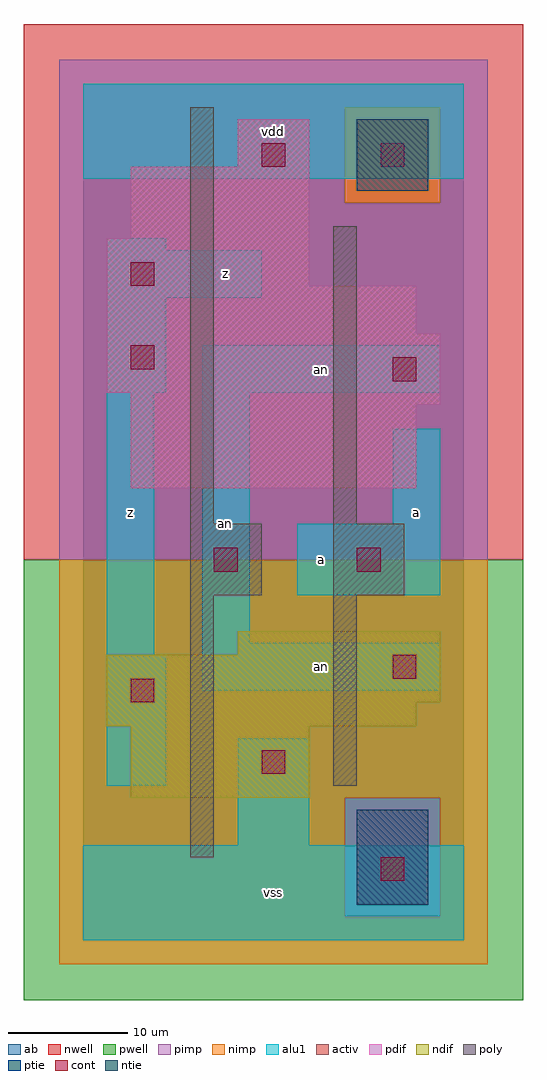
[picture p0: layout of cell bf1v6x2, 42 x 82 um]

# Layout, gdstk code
import gdstk
lib = gdstk.Library(unit=1e-6, precision=1e-09)
def R(c, l, rs):  # rectangles x0, y0, x1, y1
    for r in rs: c.add(gdstk.rectangle(r[:2], r[2:], *l))
ndif = (3, 0)
pdif = (4, 0)
ntie = (5, 0)
ptie = (6, 0)
cont = (25, 0)
pwell = (41, 0)
nwell = (42, 0)
activ = (43, 0)
pimp = (44, 0)
nimp = (45, 0)
poly = (46, 0)
alu1 = (49, 0)
ab = (63, 0)

bf1v6x2 = lib.new_cell('bf1v6x2')
R(bf1v6x2, ndif, [(4,12,19,18), (2,18,28,20), (2,20,30,24), (13,24,30,26)])
R(bf1v6x2, pdif, [(4,38,28,45), (4,45,30,46), (2,46,30,51), (2,51,28,55), (2,55,19,59), (4,59,19,65), (13,65,19,69)])
R(bf1v6x2, ntie, [(23,63,29,69)])
R(bf1v6x2, ptie, [(23,3,29,11)])
R(bf1v6x2, cont, [(25,5,27,7), (15,14,17,16), (4,20,6,22), (26,22,28,24), (11,31,13,33), (23,31,25,33), (26,47,28,49), (4,48,6,50), (4,55,6,57), (15,65,17,67), (25,65,27,67)])
R(bf1v6x2, pwell, [(-5,-5,37,32)])
R(bf1v6x2, nwell, [(-5,32,37,77)])
R(bf1v6x2, activ, [(23,3,29,11), (4,12,19,18), (2,18,28,20), (2,20,30,24), (13,24,30,26), (4,38,28,45), (4,45,30,46), (2,46,30,51), (2,51,28,55), (2,55,19,59), (4,59,19,65), (23,63,29,69), (13,65,19,69)])
R(bf1v6x2, pimp, [(22,2,30,12), (-2,32,34,62), (-2,62,22,70), (30,62,34,70), (-2,70,34,74)])
R(bf1v6x2, nimp, [(-2,-2,34,2), (-2,2,22,12), (30,2,34,12), (-2,12,34,32), (22,62,30,70)])
R(bf1v6x2, poly, [(9,7,11,29), (21,13,23,29), (9,29,15,35), (21,29,27,35), (9,35,11,70), (21,35,23,60)])
R(bf1v6x2, alu1, [(0,0,32,8), (13,8,19,17), (2,13,7,24), (10,21,30,25), (2,24,6,46), (10,25,14,46), (18,29,30,35), (26,35,30,43), (2,46,7,54), (10,46,30,50), (2,54,15,58), (2,58,7,59), (0,64,32,72)])
R(bf1v6x2, ab, [(0,0,32,72)])
bf1v6x2.add(gdstk.Label('an', (12,35), layer=49, texttype=0))
bf1v6x2.add(gdstk.Label('an', (20,23), layer=49, texttype=0))
bf1v6x2.add(gdstk.Label('an', (20,48), layer=49, texttype=0))
bf1v6x2.add(gdstk.Label('z', (4,36), layer=49, texttype=0))
bf1v6x2.add(gdstk.Label('vss', (16,4), layer=49, texttype=0))
bf1v6x2.add(gdstk.Label('z', (12,56), layer=49, texttype=0))
bf1v6x2.add(gdstk.Label('vdd', (16,68), layer=49, texttype=0))
bf1v6x2.add(gdstk.Label('a', (20,32), layer=49, texttype=0))
bf1v6x2.add(gdstk.Label('a', (28,36), layer=49, texttype=0))

lib.write_gds('bf1v6x2.gds')
